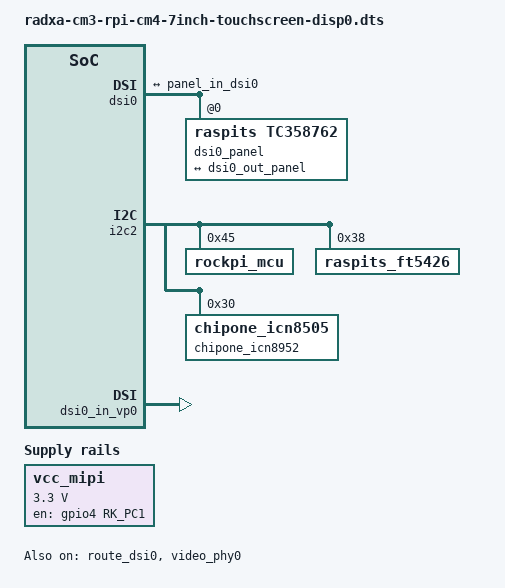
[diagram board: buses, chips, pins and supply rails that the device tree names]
/dts-v1/;
/plugin/;

#include <dt-bindings/gpio/gpio.h>
#include <dt-bindings/pinctrl/rockchip.h>

/ {
	metadata {
		title = "Enable Raspberry Pi 7-inch Touchscreen on disp0";
		compatible = "radxa,cm3-rpi-cm4-io";
		category = "display";
		exclusive = "video_phy0";
		description = "Enable Raspberry Pi 7-inch Touchscreen on disp0.";
	};
};

&{/} {
	vcc_mipi: vcc-mipi {
		status = "okay";
		compatible = "regulator-fixed";
		regulator-name = "vcc_mipi";
		regulator-boot-on;
		regulator-min-microvolt = <3300000>;
		regulator-max-microvolt = <3300000>;
		enable-active-high;
		regulator-always-on;
		gpio = <&gpio4 RK_PC1 GPIO_ACTIVE_HIGH>;
	};
};

&dsi0 {
	status = "okay";
	#address-cells = <1>;
	#size-cells = <0>;

	dsi0_panel: dsi-panel@0 {
		compatible = "raspits,tc358762";
		reg = <0x0>;
		status = "okay";

		ports {
			#address-cells = <1>;
			#size-cells = <0>;

			port@0 {
				reg = <0>;
				panel_in_dsi0: endpoint {
					remote-endpoint = <&dsi0_out_panel>;
				};
			};
		};
	};

	ports {
		#address-cells = <1>;
		#size-cells = <0>;

		port@1 {
			reg = <1>;
			#address-cells = <1>;
			#size-cells = <0>;

			dsi0_out_panel: endpoint@0 {
				reg = <0>;
				remote-endpoint = <&panel_in_dsi0>;
			};
		};
	};
};

&i2c2 {
	status = "okay";
	pinctrl-names = "default";
	pinctrl-0 = <&i2c2m1_xfer>;
	#address-cells = <1>;
	#size-cells = <0>;

	rockpi_mcu: rockpi-mcu@45 {
		compatible = "rockpi_mcu";
		reg = <0x45>;
	};

	raspits_ft5426: raspits-ft5426@38 {
		compatible = "raspits_ft5426";
		reg = <0x38>;
	};

	chipone_icn8952: chipone_icn8952@30 {
		compatible = "chipone_icn8505";
		reg = <0x30>;
	};

};

&dsi0_in_vp0 {
	status = "okay";
};

&route_dsi0 {
	status = "okay";
	connect = <&vp0_out_dsi0>;
};

&hdmi {
	status = "disabled";
};

&hdmi_in_vp0 {
	status = "disabled";
};

&video_phy0 {
	status = "okay";
};
